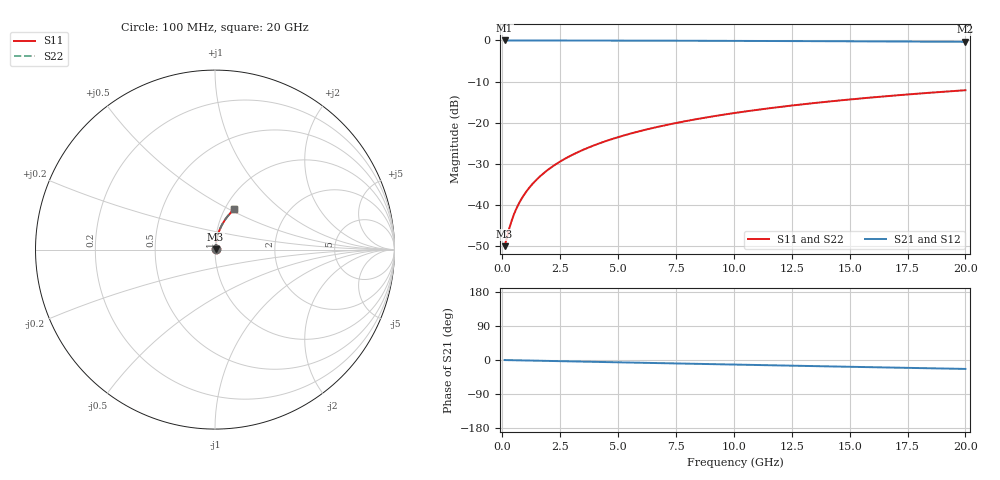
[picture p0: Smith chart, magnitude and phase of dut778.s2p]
! Touchstone file exported from HFSS 2026.1.0
!  File:  C:/ffzhzh/LocalFiles/Ansys_Project_Files/temp_train_TMRDL_778_1783155731_43440.aedt
!  Generated:  05:03:24 PM Jul  4, 2026
!  Design:  TMRDL
!  Project:  temp_train_TMRDL_778_1783155731_43440
! Variables:
!  h_bsmrdl = 2um
!  h_ox = 20um
!  h_rdl = 5um
!  h_sub = 80um
!  h_tmrdl = 2.81um
!  h_tsv = 80um
!  h_via = 3um
!  l_bsmrdl = 300um
!  l_sub = 708.46um
!  l_tmrdl = 308.46um
!  m_sub = 200um
!  pitch = 36.46um
!  r_tsv = 6um
!  s_tmrdl = 10um
!  w_bsmrdl = 18um
!  w_sub = 500um
!  w_tmrdl = 14.7um
!  x_tsv_center1 = 315.81um
!  x_tsv_center2 = 633.81um
!  x_tsv_center3 = 956.97um
!  x_tsv_center4 = 1274.97um
!  x_tsv_center5 = 1598.13um
!  x_tsv_center6 = 1916.13um
# GHz S MA R 50.000000
! Terminal data exported
! Port[1] = TM_RDL1_1_T1
! Port[2] = TM_RDL1_1_T2
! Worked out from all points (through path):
!   200 points, 100 MHz to 20 GHz, reference 50 ohm
!   highest |S21| = -0.02 dB at 100 MHz (marker M1); lowest = -0.4 dB at 20 GHz (marker M2)
!   group delay of S21, straight-line fit = 3.27 ps
!   lowest |S11| = -49.9 dB at 100 MHz (marker M3), VSWR 1.01, Z = 50.3 + j0.145 ohm
!   |S11| at or under -10 dB: start of sweep to end of sweep
!   |S22| runs from -49.9 to -12.1 dB; largest |S21 - S12| = 2.9e-15
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0.1  0.00319 26.9  0.9972 -0.1  0.9972 -0.1  0.00319 26.9
! Gamma 0 0 0 0
! Port Impedance 50 0 50 0
0.3  0.005216 55.2  0.997 -0.4  0.997 -0.4  0.005216 55.2
0.4  0.006445 61.5  0.997 -0.5  0.997 -0.5  0.006445 61.5
0.5  0.007711 65.7  0.9969 -0.6  0.9969 -0.6  0.007711 65.7
0.6  0.008991 68.7  0.9968 -0.8  0.9968 -0.8  0.008991 68.7
0.7  0.01028 70.9  0.9967 -0.9  0.9967 -0.9  0.01028 70.9
0.9  0.01287 74.0  0.9966 -1.1  0.9966 -1.1  0.01287 74.0
1.2  0.01677 76.8  0.9965 -1.5  0.9965 -1.5  0.01677 76.8
1.4  0.01939 78.0  0.9964 -1.7  0.9964 -1.7  0.01939 78.0
1.7  0.02334 79.2  0.9962 -2.1  0.9962 -2.1  0.02334 79.2
2.2  0.02994 80.4  0.9959 -2.7  0.9959 -2.7  0.02994 80.4
2.8  0.03789 80.9  0.9956 -3.4  0.9956 -3.4  0.03789 80.9
3.5  0.04716 81.0  0.995 -4.3  0.995 -4.3  0.04716 81.0
4.2  0.05641 80.8  0.9944 -5.1  0.9944 -5.1  0.05641 80.8
5  0.06694 80.3  0.9935 -6.1  0.9935 -6.1  0.06694 80.3
5.9  0.07872 79.5  0.9924 -7.2  0.9924 -7.2  0.07872 79.5
6.8  0.0904 78.7  0.9912 -8.3  0.9912 -8.3  0.0904 78.7
8.3  0.1097 77.2  0.9887 -10.1  0.9887 -10.1  0.1097 77.2
10.1  0.1324 75.3  0.9854 -12.2  0.9854 -12.2  0.1324 75.3
13.4  0.1728 71.7  0.9781 -16.1  0.9781 -16.1  0.1728 71.7
16.7  0.2115 68.1  0.9696 -19.8  0.9696 -19.8  0.2115 68.1
20  0.2485 64.5  0.9601 -23.6  0.9601 -23.6  0.2485 64.5
